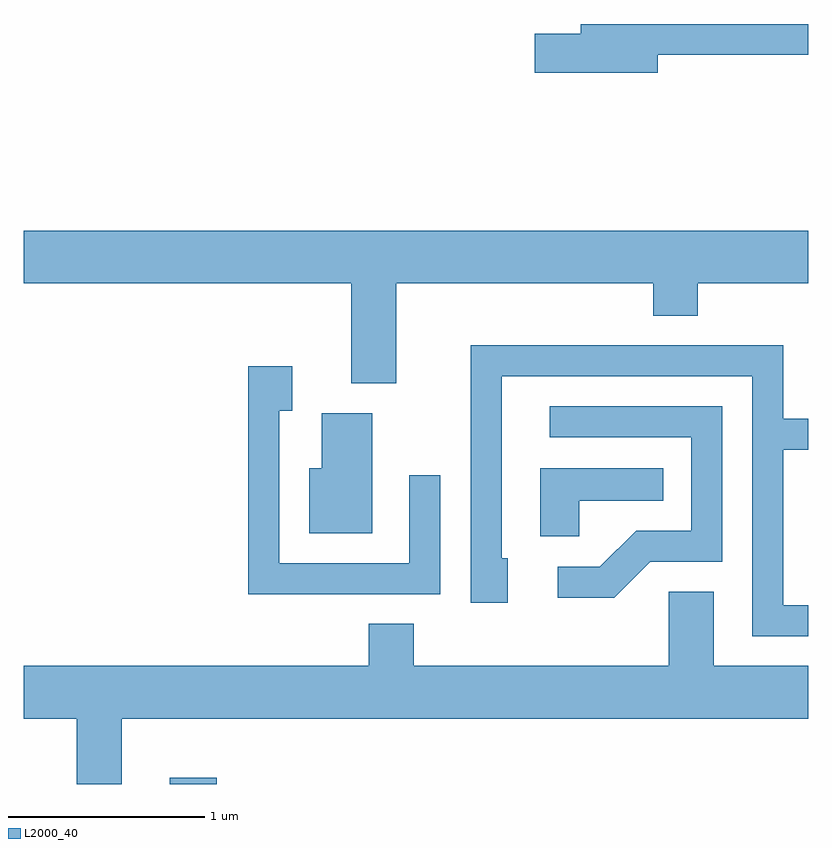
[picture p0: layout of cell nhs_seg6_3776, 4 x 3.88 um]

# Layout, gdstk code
import gdstk
lib = gdstk.Library(unit=1e-6, precision=1e-09)
def R(c, l, rs):  # rectangles x0, y0, x1, y1
    for r in rs: c.add(gdstk.rectangle(r[:2], r[2:], *l))
def P(c, l, *ps):  # polygons
    for p in ps: c.add(gdstk.Polygon(p, *l))
L2000_40 = (2000, 40)

nhs_seg6_3776 = lib.new_cell('nhs_seg6_3776')
R(nhs_seg6_3776, L2000_40, [(300.356,1534.162,300.594,1534.194)])
P(nhs_seg6_3776, L2000_40, [(302.844,1537.881),(303.611,1537.881),(303.611,1538.039),(302.451,1538.039),(302.451,1537.989),(302.216,1537.989),(302.216,1537.791),(302.844,1537.791)],
  [(301.509,1536.716),(302.821,1536.716),(302.821,1536.551),(303.049,1536.551),(303.049,1536.716),(303.611,1536.716),(303.611,1536.984),(299.611,1536.984),(299.611,1536.716),(301.281,1536.716),(301.281,1536.206),(301.509,1536.206)],
  [(303.611,1535.074),(303.484,1535.074),(303.484,1535.866),(303.611,1535.866),(303.611,1536.024),(303.484,1536.024),(303.484,1536.399),(301.891,1536.399),(301.891,1535.086),(302.079,1535.086),(302.079,1535.314),(302.049,1535.314),(302.049,1536.241),(303.326,1536.241),(303.326,1534.916),(303.611,1534.916)],
  [(301.734,1535.738),(301.576,1535.738),(301.576,1535.289),(300.914,1535.289),(300.914,1536.066),(300.979,1536.066),(300.979,1536.294),(300.756,1536.294),(300.756,1535.131),(301.734,1535.131)],
  [(302.807,1535.296),(303.174,1535.296),(303.174,1536.089),(302.293,1536.089),(302.293,1535.931),(303.016,1535.931),(303.016,1535.454),(302.734,1535.454),(302.549,1535.269),(302.333,1535.269),(302.333,1535.111),(302.622,1535.111)],
  [(301.389,1536.054),(301.131,1536.054),(301.131,1535.774),(301.066,1535.774),(301.066,1535.441),(301.389,1535.441)],
  [(302.444,1535.606),(302.873,1535.606),(302.873,1535.774),(302.246,1535.774),(302.246,1535.426),(302.444,1535.426)],
  [(300.109,1534.496),(303.611,1534.496),(303.611,1534.764),(303.129,1534.764),(303.129,1535.144),(302.901,1535.144),(302.901,1534.764),(301.599,1534.764),(301.599,1534.979),(301.371,1534.979),(301.371,1534.764),(299.611,1534.764),(299.611,1534.496),(299.881,1534.496),(299.881,1534.162),(300.109,1534.162)])

lib.write_gds('nhs_seg6_3776.gds')
